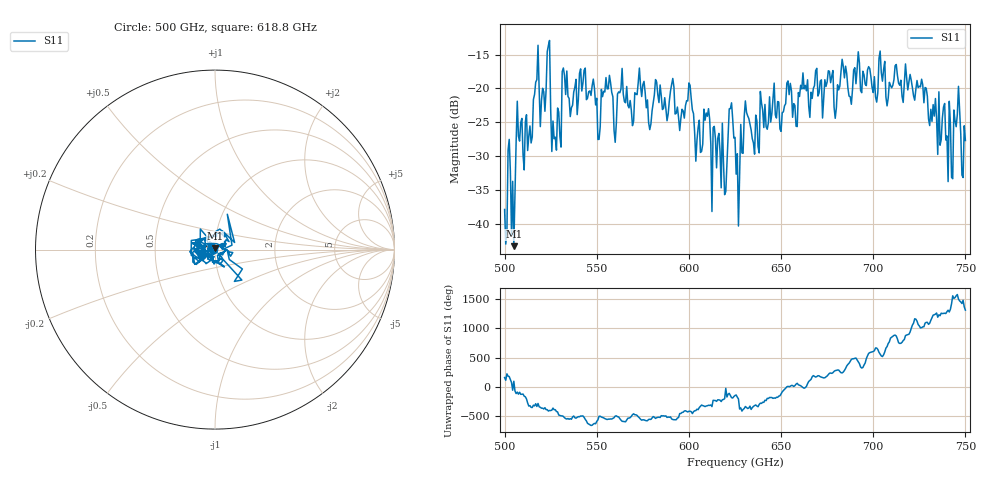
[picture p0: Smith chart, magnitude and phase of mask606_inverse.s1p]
!Created with skrf (http://scikit-rf.org).
# GHz S MA R 50.0
!freq magS11 angS11
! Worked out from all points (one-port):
!   401 points, 500 GHz to 750 GHz, reference 50 ohm
!   lowest |S11| = -43.3 dB at 505 GHz (marker M1), VSWR 1.01, Z = 50 + j0.681 ohm
!   |S11| at or under -10 dB: start of sweep to end of sweep
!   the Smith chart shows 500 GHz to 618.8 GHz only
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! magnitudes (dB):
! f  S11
! 500 GHz  -37.9
! 503.1 GHz  -32.2
! 505 GHz  -43.3
! 507.5 GHz  -27.1
! 513.8 GHz  -25.5
! 516.9 GHz  -19.1
! 520.6 GHz  -20.0
! 523.8 GHz  -13.7
! 526.9 GHz  -27.4
! 531.2 GHz  -17.5
! 542.5 GHz  -19.2
! 550.6 GHz  -27.5
! 562.5 GHz  -20.6
! 593.8 GHz  -22.8
! 609.4 GHz  -23.6
! 618.8 GHz  -30.9
! 622.5 GHz  -23.0
! 625 GHz  -27.2
! 626.2 GHz  -29.7
! 631.2 GHz  -23.5
! 636.9 GHz  -24.8
! 656.2 GHz  -24.3
! 676.9 GHz  -19.1
! 680 GHz  -22.9
! 683.8 GHz  -16.7
! 687.5 GHz  -21.2
! 718.8 GHz  -20.2
! 750 GHz  -27.7
